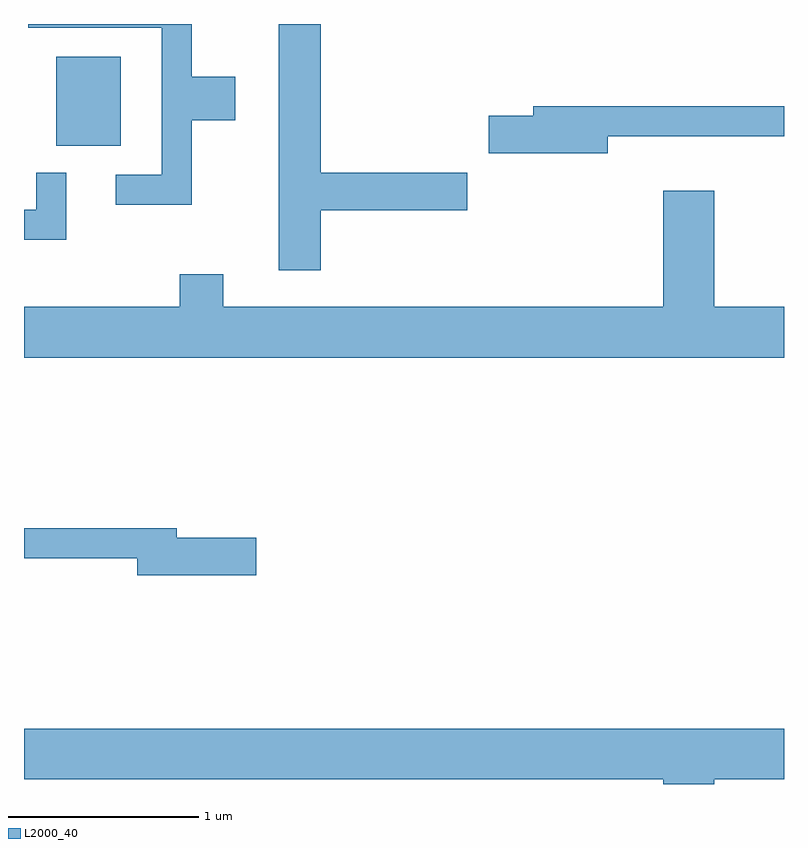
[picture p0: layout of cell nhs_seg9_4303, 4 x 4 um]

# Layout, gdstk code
import gdstk
lib = gdstk.Library(unit=1e-6, precision=1e-09)
def R(c, l, rs):  # rectangles x0, y0, x1, y1
    for r in rs: c.add(gdstk.rectangle(r[:2], r[2:], *l))
def P(c, l, *ps):  # polygons
    for p in ps: c.add(gdstk.Polygon(p, *l))
L2000_40 = (2000, 40)

nhs_seg9_4303 = lib.new_cell('nhs_seg9_4303')
R(nhs_seg9_4303, L2000_40, [(311.781,2021.791,312.119,2022.259)])
P(nhs_seg9_4303, L2000_40, [(313.174,2021.451),(313.944,2021.451),(313.944,2021.649),(313.174,2021.649),(313.174,2022.432),(312.951,2022.432),(312.951,2021.136),(313.174,2021.136)],
  [(312.494,2021.926),(312.724,2021.926),(312.724,2022.154),(312.494,2022.154),(312.494,2022.432),(311.633,2022.432),(311.633,2022.411),(312.336,2022.411),(312.336,2021.639),(312.093,2021.639),(312.093,2021.481),(312.494,2021.481)],
  [(314.684,2021.841),(315.611,2021.841),(315.611,2021.999),(314.291,2021.999),(314.291,2021.949),(314.056,2021.949),(314.056,2021.751),(314.684,2021.751)],
  [(311.834,2021.648),(311.676,2021.648),(311.676,2021.454),(311.611,2021.454),(311.611,2021.296),(311.834,2021.296)],
  [(315.611,2020.944),(315.244,2020.944),(315.244,2021.554),(314.976,2021.554),(314.976,2020.944),(312.659,2020.944),(312.659,2021.114),(312.431,2021.114),(312.431,2020.944),(311.611,2020.944),(311.611,2020.676),(315.611,2020.676)],
  [(312.834,2019.729),(312.414,2019.729),(312.414,2019.779),(311.611,2019.779),(311.611,2019.621),(312.206,2019.621),(312.206,2019.531),(312.834,2019.531)],
  [(315.244,2018.456),(315.611,2018.456),(315.611,2018.724),(311.611,2018.724),(311.611,2018.456),(314.976,2018.456),(314.976,2018.432),(315.244,2018.432)])

lib.write_gds('nhs_seg9_4303.gds')
